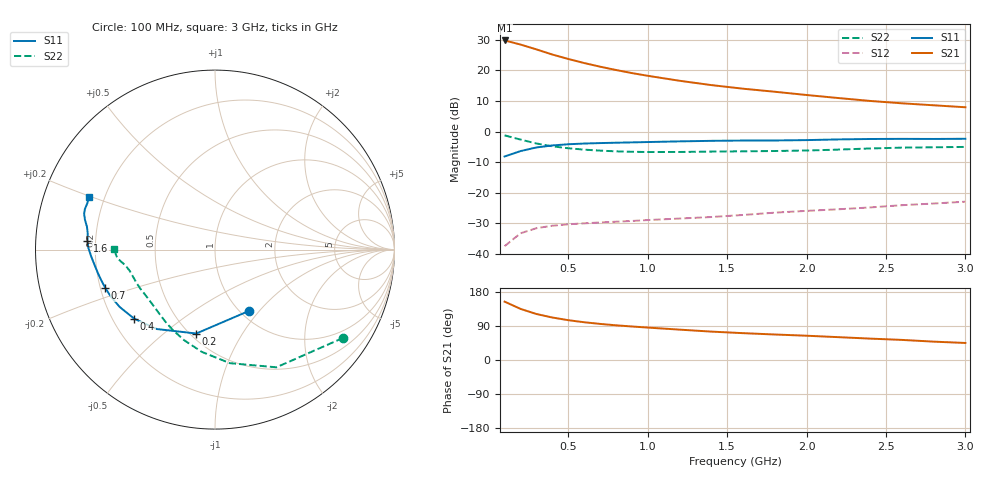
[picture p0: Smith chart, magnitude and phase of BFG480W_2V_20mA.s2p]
! Filename: 220BFG480.001
! Title: BFG480W
! Bias: Vce=2V; Ic=20mA
! Company: Philips Semiconductors NL
! User: Quality&Reliability T&D
! Measure time: 10 Nov 1999 / 11:53:27
#  MHz  S  MA  R 50
! Freq  S11  S21  S12  S22  :
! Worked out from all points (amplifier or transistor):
!   20 points, 100 MHz to 3 GHz, reference 50 ohm
!   highest |S21| = 29.8 dB at 100 MHz (marker M1)
!   |S21| within 3 dB of that: start of sweep to 304.6 MHz
!   unconditionally stable (mu >= 1): 1.398 GHz to end of sweep
!   at 400 MHz: K = 0.38, MSG = 28.0 dB, |S12| = -30.8 dB
!   at 1.2 GHz: K = 0.92, MSG = 22.6 dB, |S12| = -28.5 dB
!   at 3 GHz: K = 1.17, MAG = 13.0 dB, |S12| = -23.0 dB
!   S11 on the Smith chart (normalised r, x): 100 MHz: 1.10, -0.88; 200 MHz: 0.54, -0.65; 400 MHz: 0.29, -0.34; 700 MHz: 0.22, -0.16; 1.6 GHz: 0.17, +0.03; 3 GHz: 0.14, +0.20
100  0.3907 -60.7  30.98 154.0  0.01331 68.1  0.8664 -34.6
200  0.4791 -102.6  26.57 134.9  0.02162 53.4  0.7396 -62.5
300  0.5491 -126.3  22.13 121.4  0.0262 45.2  0.6382 -82.5
400  0.5923 -139.5  18.24 112.1  0.02876 40.7  0.5745 -97.4
500  0.62 -149.0  15.44 105.1  0.03034 38.7  0.5332 -108.8
600  0.6365 -155.7  13.24 99.6  0.03148 37.9  0.5061 -117.5
700  0.6478 -160.8  11.55 95.3  0.0325 38.1  0.4877 -124.5
800  0.6565 -165.0  10.19 91.6  0.03345 39.0  0.4748 -130.2
900  0.6647 -168.4  9.071 88.5  0.03441 40.4  0.4667 -135.2
1000  0.6735 -171.7  8.187 85.6  0.0356 41.8  0.4626 -139.7
1200  0.6907 -176.8  6.788 80.2  0.03768 44.7  0.4633 -147.1
1400  0.7049 179.4  5.766 75.0  0.03992 47.6  0.4699 -152.7
1600  0.7128 176.1  5.032 70.9  0.04314 50.9  0.4751 -157.0
1800  0.7146 172.8  4.484 67.3  0.04707 53.9  0.4804 -161.3
2000  0.7248 169.8  3.967 64.1  0.05034 56.7  0.4893 -165.9
2200  0.7436 167.0  3.538 60.3  0.05344 58.6  0.5066 -170.0
2400  0.7558 164.7  3.172 56.4  0.05728 59.9  0.5289 -172.9
2600  0.7594 162.7  2.901 53.0  0.06234 61.0  0.5454 -174.9
2800  0.7568 160.1  2.692 48.5  0.06642 61.0  0.5532 -177.2
3000  0.7618 157.3  2.498 44.9  0.07119 61.5  0.5606 179.7
